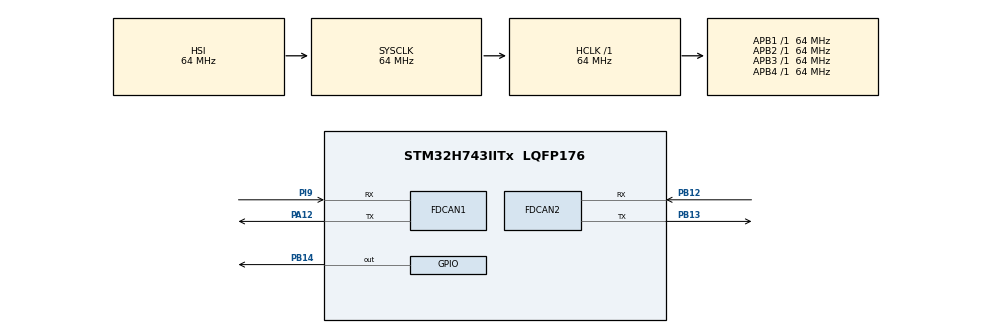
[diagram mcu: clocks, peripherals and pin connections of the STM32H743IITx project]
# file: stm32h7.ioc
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FDCAN1.AutoRetransmission=ENABLE
FDCAN1.CalculateBaudRateNominal=125000
FDCAN1.CalculateTimeBitNominal=8000
FDCAN1.CalculateTimeQuantumNominal=400.0
FDCAN1.NominalPrescaler=20
FDCAN1.NominalTimeSeg1=17
FDCAN1.ProtocolException=ENABLE
FDCAN2.CalculateBaudRateNominal=625000
FDCAN2.CalculateTimeBitNominal=1600
FDCAN2.CalculateTimeQuantumNominal=320.0
Mcu.Family=STM32H7
Mcu.Name=STM32H743IITx
Mcu.Package=LQFP176
NVIC.PriorityGroup=NVIC_PRIORITYGROUP_4
PA12.Mode=FDCAN_Activate
PA12.Signal=FDCAN1_TX
PB12.Mode=FDCAN_Activate
PB12.Signal=FDCAN2_RX
PB13.Mode=FDCAN_Activate
PB13.Signal=FDCAN2_TX
PB14.GPIO_PuPd=GPIO_PULLUP
PB14.PinState=GPIO_PIN_SET
PB14.Signal=GPIO_Output
PH0-OSC_IN\ (PH0).Mode=HSE-External-Oscillator
PH0-OSC_IN\ (PH0).Signal=RCC_OSC_IN
PH1-OSC_OUT\ (PH1).Mode=HSE-External-Oscillator
PH1-OSC_OUT\ (PH1).Signal=RCC_OSC_OUT
PI9.Mode=FDCAN_Activate
PI9.Signal=FDCAN1_RX
ProjectManager.HeapSize=0x200
ProjectManager.StackSize=0x400
ProjectManager.TargetToolchain=STM32CubeIDE
RCC.ADCFreq_Value=129000000
RCC.APB1Freq_Value=64000000
RCC.APB2Freq_Value=64000000
RCC.APB3Freq_Value=64000000
RCC.APB4Freq_Value=64000000
RCC.CortexFreq_Value=64000000
RCC.DIVM1=4
RCC.DIVN1=9
RCC.DIVQ1=3
RCC.HCLKFreq_Value=64000000
RCC.PLLFRACN=3072
RCC.SYSCLKFreq_VALUE=64000000
RCC.USBFreq_Value=50000000
board=custom

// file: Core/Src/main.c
/* USER CODE BEGIN Header */
/**
  ******************************************************************************
  * @file           : main.c
  * @brief          : Main program body
  ******************************************************************************
  * @attention
  *
  * Copyright (c) 2024 STMicroelectronics.
  * All rights reserved.
  *
  * This software is licensed under terms that can be found in the LICENSE file
  * in the root directory of this software component.
  * If no LICENSE file comes with this software, it is provided AS-IS.
  *
  ******************************************************************************
  */
/* USER CODE END Header */
#include "main.h"
#include 	"string.h"

FDCAN_HandleTypeDef hfdcan1;
FDCAN_HandleTypeDef hfdcan2;

void SystemClock_Config(void);
static void MPU_Initialize(void);
static void MPU_Config(void);
static void MX_GPIO_Init(void);
static void MX_FDCAN2_Init(void);
static void MX_FDCAN1_Init(void);
/* USER CODE BEGIN PFP */
FDCAN_FilterTypeDef sFilterConfig;
//uint8_t RxData[16];
//FDCAN_RxHeaderTypeDef RxHeader;
GPIO_PinState pinState;

FDCAN_RxHeaderTypeDef RxHeader;
uint8_t RxData[8];
uint8_t view_data[10][8];
uint8_t to = 0;

/* USER CODE END PFP */

int main(void)
{

  /* MCU Configuration--------------------------------------------------------*/

  /* Reset of all peripherals, Initializes the Flash interface and the Systick. */
  HAL_Init();

  /* MPU Configuration--------------------------------------------------------*/
  MPU_Config();

  /* Configure the system clock */
  SystemClock_Config();

  /* Initialize all configured peripherals */
  MX_GPIO_Init();
  MX_FDCAN2_Init();
  MX_FDCAN1_Init();
  /* USER CODE BEGIN 2 */
  __HAL_RCC_FDCAN_CLK_ENABLE();
//                        sFilterConfig.IdType = FDCAN_STANDARD_ID;
//                        sFilterConfig.FilterIndex = 0;
//                        sFilterConfig.FilterType = FDCAN_FILTER_MASK;
//                        sFilterConfig.FilterConfig = FDCAN_FILTER_TO_RXFIFO1;
//                        sFilterConfig.FilterID1 = ((0xE0<<3)+0x01)<<5;;
//                        sFilterConfig.FilterID2 = 0X7FF; /* For acceptance, MessageID and FilterID1 must match exactly */
//                        HAL_FDCAN_ConfigFilter(&hfdcan1, &sFilterConfig);

                        sFilterConfig.IdType = FDCAN_STANDARD_ID;
                        sFilterConfig.FilterIndex = 1;
                        sFilterConfig.FilterType = FDCAN_FILTER_MASK;
                        sFilterConfig.FilterConfig = FDCAN_FILTER_TO_RXFIFO0;
                        sFilterConfig.FilterID1 = 0x80<<8;
                        sFilterConfig.FilterID2 = 0X7FF; /* For acceptance, MessageID and FilterID1 must match exactly */
                        HAL_FDCAN_ConfigFilter(&hfdcan1, &sFilterConfig);

                        sFilterConfig.IdType = FDCAN_STANDARD_ID;
                        sFilterConfig.FilterIndex = 2;
                        sFilterConfig.FilterType = FDCAN_FILTER_MASK;
//                        sFilterConfig.FilterConfig = FDCAN_FILTER_TO_RXFIFO0;
                        sFilterConfig.FilterID1 = ((0xC0 | (0x10 >> 3)) << 8) + (0x10 <<5);
                        sFilterConfig.FilterID2 = 0X7FF; /* For acceptance, MessageID and FilterID1 must match exactly */
                        HAL_FDCAN_ConfigFilter(&hfdcan1, &sFilterConfig);

                        sFilterConfig.IdType = FDCAN_STANDARD_ID;
                        sFilterConfig.FilterIndex = 3;
                        sFilterConfig.FilterType = FDCAN_FILTER_MASK;
//                        sFilterConfig.FilterConfig = FDCAN_FILTER_TO_RXFIFO0;
                        sFilterConfig.FilterID1 =  0x00 << 8;
                        sFilterConfig.FilterID2 = 0X7FF; /* For acceptance, MessageID and FilterID1 must match exactly */
                        HAL_FDCAN_ConfigFilter(&hfdcan1, &sFilterConfig);

                        sFilterConfig.IdType = FDCAN_STANDARD_ID;
                        sFilterConfig.FilterIndex = 4;
                        sFilterConfig.FilterType = FDCAN_FILTER_MASK;
//                        sFilterConfig.FilterConfig = FDCAN_FILTER_TO_RXFIFO0;
                        sFilterConfig.FilterID1 = (0xA0 << 8) +(0x0B << 5);
                        sFilterConfig.FilterID2 = 0X7FF; /* For acceptance, MessageID and FilterID1 must match exactly */
                        HAL_FDCAN_ConfigFilter(&hfdcan1, &sFilterConfig);

                        sFilterConfig.IdType = FDCAN_STANDARD_ID;
                        sFilterConfig.FilterIndex = 5;
                        sFilterConfig.FilterType = FDCAN_FILTER_MASK;
//                        sFilterConfig.FilterConfig = FDCAN_FILTER_TO_RXFIFO0;
                        sFilterConfig.FilterID1 = 0xD0 << 8;
                        sFilterConfig.FilterID2 = 0X7FF; /* For acceptance, MessageID and FilterID1 must match exactly */
                        HAL_FDCAN_ConfigFilter(&hfdcan1, &sFilterConfig);
  if (HAL_FDCAN_Start(&hfdcan1) != HAL_OK) {
    /* Start Error */
    Error_Handler();
  }

  /* USER CODE END 2 */

  /* Infinite loop */
  /* USER CODE BEGIN WHILE */
//  HAL_GPIO_WritePin(GPIOB, GPIO_PIN_14, GPIO_PIN_RESET);
  while (1)
  {
    /* USER CODE END WHILE */

    /* USER CODE BEGIN 3 */
	  while (HAL_FDCAN_GetRxFifoFillLevel(&hfdcan1, FDCAN_RX_FIFO0) < 2) {}
	  	  if(to == 9)
	  	  {
	  		  to = 0;
	  	  }
	      HAL_FDCAN_GetRxMessage(&hfdcan1, FDCAN_RX_FIFO0, &RxHeader, RxData);
	      view_data[to][0] 	= (RxHeader.Identifier>>3) & 0xF0;
	      view_data[to][1] 	= RxHeader.Identifier & 0x3F;
	      memcpy((void *)&view_data[to][2],RxData,RxHeader.DataLength);
	      to++;

//	   pinState = HAL_GPIO_ReadPin(GPIOI, GPIO_PIN_9);
////
//	          if (pinState == GPIO_PIN_SET)
//	          {
//	              // Chân PA0 ở mức cao
//	        	  HAL_GPIO_WritePin(GPIOB, GPIO_PIN_14, GPIO_PIN_RESET);
//	              // Thực hiện hành động nếu cần
//	          }
//	          else
//	          {
//	              // Chân PA0 ở mức thấp
//	        	  HAL_GPIO_WritePin(GPIOB, GPIO_PIN_14, GPIO_PIN_SET);
//	              // Thực hiện hành động nếu cần
//	          }
//	  HAL_Delay(2000);
//	  HAL_GPIO_TogglePin(GPIOB, GPIO_PIN_14);
  }

  /* USER CODE END 3 */
}

void SystemClock_Config(void)
{
  RCC_OscInitTypeDef RCC_OscInitStruct = {0};
  RCC_ClkInitTypeDef RCC_ClkInitStruct = {0};

  /** Supply configuration update enable
  */
  HAL_PWREx_ConfigSupply(PWR_LDO_SUPPLY);

  /** Configure the main internal regulator output voltage
  */
  __HAL_PWR_VOLTAGESCALING_CONFIG(PWR_REGULATOR_VOLTAGE_SCALE3);

  while(!__HAL_PWR_GET_FLAG(PWR_FLAG_VOSRDY)) {}

  /** Initializes the RCC Oscillators according to the specified parameters
  * in the RCC_OscInitTypeDef structure.
  */
  RCC_OscInitStruct.OscillatorType = RCC_OSCILLATORTYPE_HSI;
  RCC_OscInitStruct.HSIState = RCC_HSI_DIV1;
  RCC_OscInitStruct.HSICalibrationValue = RCC_HSICALIBRATION_DEFAULT;
  RCC_OscInitStruct.PLL.PLLState = RCC_PLL_ON;
  RCC_OscInitStruct.PLL.PLLSource = RCC_PLLSOURCE_HSI;
  RCC_OscInitStruct.PLL.PLLM = 4;
  RCC_OscInitStruct.PLL.PLLN = 9;
  RCC_OscInitStruct.PLL.PLLP = 2;
  RCC_OscInitStruct.PLL.PLLQ = 3;
  RCC_OscInitStruct.PLL.PLLR = 2;
  RCC_OscInitStruct.PLL.PLLRGE = RCC_PLL1VCIRANGE_3;
  RCC_OscInitStruct.PLL.PLLVCOSEL = RCC_PLL1VCOMEDIUM;
  RCC_OscInitStruct.PLL.PLLFRACN = 3072;
  if (HAL_RCC_OscConfig(&RCC_OscInitStruct) != HAL_OK)
  {
    Error_Handler();
  }

  /** Initializes the CPU, AHB and APB buses clocks
  */
  RCC_ClkInitStruct.ClockType = RCC_CLOCKTYPE_HCLK|RCC_CLOCKTYPE_SYSCLK
                              |RCC_CLOCKTYPE_PCLK1|RCC_CLOCKTYPE_PCLK2
                              |RCC_CLOCKTYPE_D3PCLK1|RCC_CLOCKTYPE_D1PCLK1;
  RCC_ClkInitStruct.SYSCLKSource = RCC_SYSCLKSOURCE_HSI;
  RCC_ClkInitStruct.SYSCLKDivider = RCC_SYSCLK_DIV1;
  RCC_ClkInitStruct.AHBCLKDivider = RCC_HCLK_DIV1;
  RCC_ClkInitStruct.APB3CLKDivider = RCC_APB3_DIV1;
  RCC_ClkInitStruct.APB1CLKDivider = RCC_APB1_DIV1;
  RCC_ClkInitStruct.APB2CLKDivider = RCC_APB2_DIV1;
  RCC_ClkInitStruct.APB4CLKDivider = RCC_APB4_DIV1;

  if (HAL_RCC_ClockConfig(&RCC_ClkInitStruct, FLASH_LATENCY_1) != HAL_OK)
  {
    Error_Handler();
  }
}

static void MX_FDCAN1_Init(void)
{

  hfdcan1.Instance = FDCAN1;
  hfdcan1.Init.FrameFormat = FDCAN_FRAME_CLASSIC;
  hfdcan1.Init.Mode = FDCAN_MODE_NORMAL;
  hfdcan1.Init.AutoRetransmission = ENABLE;
  hfdcan1.Init.TransmitPause = DISABLE;
  hfdcan1.Init.ProtocolException = ENABLE;
  hfdcan1.Init.NominalPrescaler = 20;
  hfdcan1.Init.NominalSyncJumpWidth = 1;
  hfdcan1.Init.NominalTimeSeg1 = 17;
  hfdcan1.Init.NominalTimeSeg2 = 2;
  hfdcan1.Init.DataPrescaler = 20;
  hfdcan1.Init.DataSyncJumpWidth = 1;
  hfdcan1.Init.DataTimeSeg1 = 17;
  hfdcan1.Init.DataTimeSeg2 = 2;
  hfdcan1.Init.MessageRAMOffset = 0;
  hfdcan1.Init.StdFiltersNbr = 5;
  hfdcan1.Init.ExtFiltersNbr = 0;
  hfdcan1.Init.RxFifo0ElmtsNbr = 2;
  hfdcan1.Init.RxFifo0ElmtSize = FDCAN_DATA_BYTES_8;
  hfdcan1.Init.RxFifo1ElmtsNbr = 2;
  hfdcan1.Init.RxFifo1ElmtSize = FDCAN_DATA_BYTES_8;
  hfdcan1.Init.RxBuffersNbr = 0;
  hfdcan1.Init.RxBufferSize = FDCAN_DATA_BYTES_8;
  hfdcan1.Init.TxEventsNbr = 0;
  hfdcan1.Init.TxBuffersNbr = 0;
  hfdcan1.Init.TxFifoQueueElmtsNbr = 0;
  hfdcan1.Init.TxFifoQueueMode = FDCAN_TX_FIFO_OPERATION;
  hfdcan1.Init.TxElmtSize = FDCAN_DATA_BYTES_8;
  if (HAL_FDCAN_Init(&hfdcan1) != HAL_OK)
  {
    Error_Handler();
  }

}

static void MX_FDCAN2_Init(void)
{

  hfdcan2.Instance = FDCAN2;
  hfdcan2.Init.FrameFormat = FDCAN_FRAME_CLASSIC;
  hfdcan2.Init.Mode = FDCAN_MODE_NORMAL;
  hfdcan2.Init.AutoRetransmission = DISABLE;
  hfdcan2.Init.TransmitPause = DISABLE;
  hfdcan2.Init.ProtocolException = DISABLE;
  hfdcan2.Init.NominalPrescaler = 16;
  hfdcan2.Init.NominalSyncJumpWidth = 1;
  hfdcan2.Init.NominalTimeSeg1 = 2;
  hfdcan2.Init.NominalTimeSeg2 = 2;
  hfdcan2.Init.DataPrescaler = 1;
  hfdcan2.Init.DataSyncJumpWidth = 1;
  hfdcan2.Init.DataTimeSeg1 = 1;
  hfdcan2.Init.DataTimeSeg2 = 1;
  hfdcan2.Init.MessageRAMOffset = 0;
  hfdcan2.Init.StdFiltersNbr = 0;
  hfdcan2.Init.ExtFiltersNbr = 0;
  hfdcan2.Init.RxFifo0ElmtsNbr = 0;
  hfdcan2.Init.RxFifo0ElmtSize = FDCAN_DATA_BYTES_8;
  hfdcan2.Init.RxFifo1ElmtsNbr = 0;
  hfdcan2.Init.RxFifo1ElmtSize = FDCAN_DATA_BYTES_8;
  hfdcan2.Init.RxBuffersNbr = 0;
  hfdcan2.Init.RxBufferSize = FDCAN_DATA_BYTES_8;
  hfdcan2.Init.TxEventsNbr = 0;
  hfdcan2.Init.TxBuffersNbr = 0;
  hfdcan2.Init.TxFifoQueueElmtsNbr = 0;
  hfdcan2.Init.TxFifoQueueMode = FDCAN_TX_FIFO_OPERATION;
  hfdcan2.Init.TxElmtSize = FDCAN_DATA_BYTES_8;
  if (HAL_FDCAN_Init(&hfdcan2) != HAL_OK)
  {
    Error_Handler();
  }

}

static void MX_GPIO_Init(void)
{
  GPIO_InitTypeDef GPIO_InitStruct = {0};

  /* GPIO Ports Clock Enable */
  __HAL_RCC_GPIOI_CLK_ENABLE();
  __HAL_RCC_GPIOH_CLK_ENABLE();
  __HAL_RCC_GPIOB_CLK_ENABLE();
  __HAL_RCC_GPIOA_CLK_ENABLE();

  /*Configure GPIO pin Output Level */
  HAL_GPIO_WritePin(GPIOB, GPIO_PIN_14, GPIO_PIN_SET);

  /*Configure GPIO pin : PB14 */
  GPIO_InitStruct.Pin = GPIO_PIN_14;
  GPIO_InitStruct.Mode = GPIO_MODE_OUTPUT_PP;
  GPIO_InitStruct.Pull = GPIO_PULLUP;
  GPIO_InitStruct.Speed = GPIO_SPEED_FREQ_LOW;
  HAL_GPIO_Init(GPIOB, &GPIO_InitStruct);

}

/* MPU Configuration */

void MPU_Config(void)
{
  MPU_Region_InitTypeDef MPU_InitStruct = {0};

  /* Disables the MPU */
  HAL_MPU_Disable();

  /** Initializes and configures the Region and the memory to be protected
  */
  MPU_InitStruct.Enable = MPU_REGION_ENABLE;
  MPU_InitStruct.Number = MPU_REGION_NUMBER0;
  MPU_InitStruct.BaseAddress = 0x0;
  MPU_InitStruct.Size = MPU_REGION_SIZE_4GB;
  MPU_InitStruct.SubRegionDisable = 0x87;
  MPU_InitStruct.TypeExtField = MPU_TEX_LEVEL0;
  MPU_InitStruct.AccessPermission = MPU_REGION_NO_ACCESS;
  MPU_InitStruct.DisableExec = MPU_INSTRUCTION_ACCESS_DISABLE;
  MPU_InitStruct.IsShareable = MPU_ACCESS_SHAREABLE;
  MPU_InitStruct.IsCacheable = MPU_ACCESS_NOT_CACHEABLE;
  MPU_InitStruct.IsBufferable = MPU_ACCESS_NOT_BUFFERABLE;

  HAL_MPU_ConfigRegion(&MPU_InitStruct);
  /* Enables the MPU */
  HAL_MPU_Enable(MPU_PRIVILEGED_DEFAULT);

}

void Error_Handler(void)
{
  __disable_irq();
  while (1)
  {
  }
}
